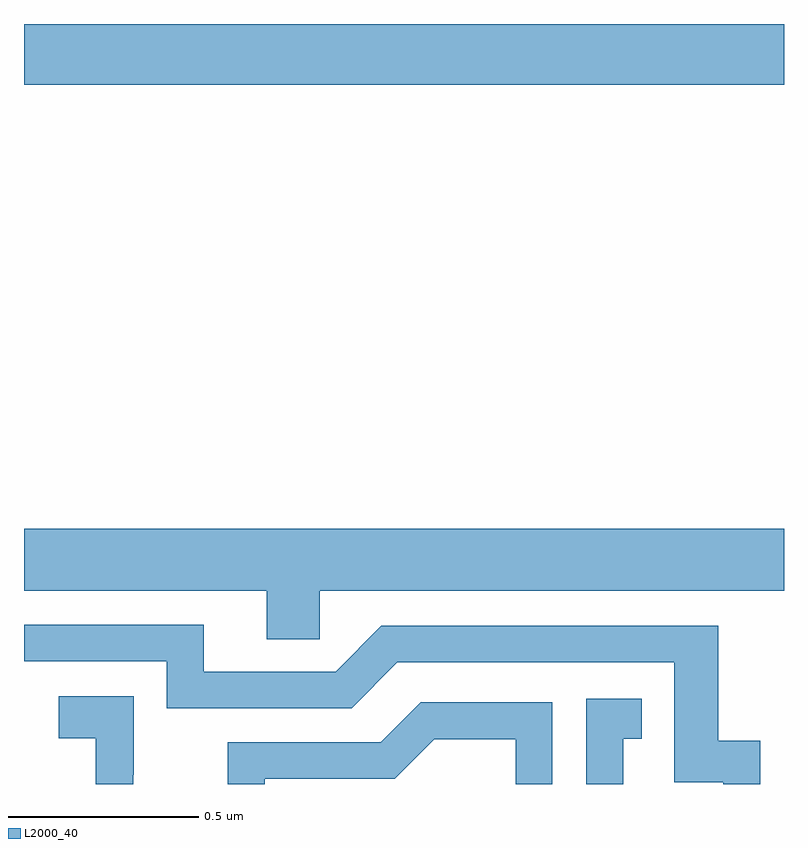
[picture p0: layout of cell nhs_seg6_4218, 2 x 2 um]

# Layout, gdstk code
import gdstk
lib = gdstk.Library(unit=1e-6, precision=1e-09)
def R(c, l, rs):  # rectangles x0, y0, x1, y1
    for r in rs: c.add(gdstk.rectangle(r[:2], r[2:], *l))
def P(c, l, *ps):  # polygons
    for p in ps: c.add(gdstk.Polygon(p, *l))
L2000_40 = (2000, 40)

nhs_seg6_4218 = lib.new_cell('nhs_seg6_4218')
R(nhs_seg6_4218, L2000_40, [(167,943.34,169,943.5)])
P(nhs_seg6_4218, L2000_40, [(167.778,942.008),(169,942.008),(169,942.172),(167,942.172),(167,942.008),(167.639,942.008),(167.639,941.881),(167.778,941.881)],
  [(168.938,941.614),(168.827,941.614),(168.827,941.916),(167.94,941.916),(167.82,941.796),(167.473,941.796),(167.473,941.919),(167,941.919),(167,941.823),(167.376,941.823),(167.376,941.7),(167.862,941.7),(167.982,941.82),(168.711,941.82),(168.711,941.505),(168.84,941.505),(168.84,941.5),(168.938,941.5)],
  [(167.288,941.525),(167.289,941.525),(167.289,941.731),(167.091,941.731),(167.091,941.621),(167.189,941.621),(167.189,941.5),(167.288,941.5)],
  [(168.577,941.619),(168.626,941.619),(168.626,941.725),(168.48,941.725),(168.48,941.5),(168.577,941.5)],
  [(167.634,941.514),(167.976,941.514),(168.08,941.618),(168.294,941.618),(168.294,941.5),(168.39,941.5),(168.39,941.715),(168.044,941.715),(167.939,941.61),(167.536,941.61),(167.536,941.5),(167.634,941.5)])

lib.write_gds('nhs_seg6_4218.gds')
